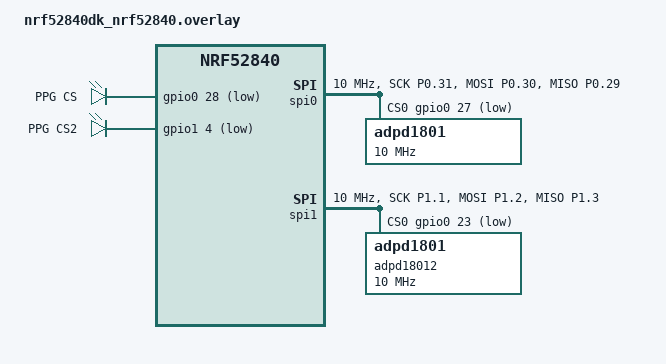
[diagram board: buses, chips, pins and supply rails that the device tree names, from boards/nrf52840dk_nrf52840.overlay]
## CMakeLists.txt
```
cmake_minimum_required(VERSION 3.20.0)
find_package(Zephyr REQUIRED HINTS $ENV{ZEPHYR_BASE})

project(cont_bp_monitor)

target_sources(app PRIVATE src/main.c src/bpm.c drivers/sensor_ppg.c lib/cross_correlate.c lib/convert_to_bp.c lib/derivative_approximate.c lib/double_readings.c lib/rolling_window.c lib/ptt_constant_calc.c)
target_include_directories(app PRIVATE drivers lib)
```

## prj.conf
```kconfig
CONFIG_GPIO=y
CONFIG_ADC=y
CONFIG_SPI=y
CONFIG_SPI_ASYNC=n

CONFIG_LOG=y
CONFIG_LOG_MODE_MINIMAL=n

CONFIG_FPU=y
CONFIG_FPU_SHARING=y

#CONFIG_SYSTEM_WORKQUEUE_STACK_SIZE=2048

CONFIG_BT=y
CONFIG_BT_SMP=y
CONFIG_BT_SIGNING=y
CONFIG_BT_PERIPHERAL=y
CONFIG_BT_DIS=y
CONFIG_BT_ATT_PREPARE_COUNT=5
CONFIG_BT_PRIVACY=y
CONFIG_BT_DEVICE_NAME="Pulsewave BP Monitor"
CONFIG_BT_DEVICE_APPEARANCE=380
CONFIG_BT_DEVICE_NAME_DYNAMIC=y
CONFIG_BT_DEVICE_NAME_MAX=65

CONFIG_BT_KEYS_OVERWRITE_OLDEST=y
CONFIG_BT_SETTINGS=y
CONFIG_FLASH=y
CONFIG_FLASH_PAGE_LAYOUT=y
CONFIG_FLASH_MAP=y
CONFIG_NVS=y
CONFIG_SETTINGS=y
```

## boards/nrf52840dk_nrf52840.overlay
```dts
/*
 * SPDX-License-Identifier: Apache-2.0
 *
 * Copyright (c) 2022 Nordic Semiconductor ASA
 */

 &pinctrl {
	spi1_default: spi1_default {
		group1 {
			psels = <NRF_PSEL(SPIM_SCK, 0, 31)>,
				<NRF_PSEL(SPIM_MOSI, 0, 30)>,
				<NRF_PSEL(SPIM_MISO, 0, 29)>;
		};
	};
	spi1_sleep: spi1_sleep {
		group1 {
			psels = <NRF_PSEL(SPIM_SCK, 0, 31)>,
				<NRF_PSEL(SPIM_MOSI, 0, 30)>,
				<NRF_PSEL(SPIM_MISO, 0, 29)>;
			low-power-enable;
		};
	};
	spi2_default: spi2_default {
		group1 {
			psels = <NRF_PSEL(SPIM_SCK, 1, 1)>,
				<NRF_PSEL(SPIM_MOSI, 1, 2)>,
				<NRF_PSEL(SPIM_MISO, 1, 3)>;
		};
	};

	spi2_sleep: spi2_sleep {
		group1 {
			psels = <NRF_PSEL(SPIM_SCK, 1, 1)>,
				<NRF_PSEL(SPIM_MOSI, 1, 2)>,
				<NRF_PSEL(SPIM_MISO, 1, 3)>;
			low-power-enable;
		};
	};
};

&spi0 {
	compatible = "nordic,nrf-spi";
	status = "okay";
	cs-gpios = <&gpio0 27 GPIO_ACTIVE_LOW>;
	pinctrl-0 = <&spi1_default>;
	pinctrl-1 = <&spi1_sleep>;
	pinctrl-names = "default", "sleep";
	max-frequency = <DT_FREQ_M(10)>;
	clock-frequency = <DT_FREQ_M(10)>;
	adpd1801: adpd1801@0 {
		compatible = "zephyr,adpd1801";
		reg = <0>;
		spi-max-frequency = <DT_FREQ_M(10)>;
		label = "adpd1801";
	};
};

&spi1 {
	compatible = "nordic,nrf-spi";
	status = "okay";
	cs-gpios = <&gpio0 23 GPIO_ACTIVE_LOW>;
	pinctrl-0 = <&spi2_default>;
	pinctrl-1 = <&spi2_sleep>;
	pinctrl-names = "default", "sleep";
	max-frequency = <DT_FREQ_M(10)>;
	clock-frequency = <DT_FREQ_M(10)>;
	adpd18012: adpd18012@0 {
		compatible = "zephyr,adpd1801";
		reg = <0>;
		spi-max-frequency = <DT_FREQ_M(10)>;
		label = "adpd18012";
	};
};

&spi2 {
	status = "disabled";
};

&spi3 {
	status = "disabled";
};

&qspi {
	status = "disabled";
};

&i2c0 {
	status = "disabled";
};

/ {
	cs_pins {
		compatible = "gpio-leds";
		ppgcs: ppg_cs {
			gpios = <&gpio0 28 GPIO_ACTIVE_LOW>;
			label = "PPG CS";
		};
		ppgcs2: ppg_cs2 {
			gpios = <&gpio1 4 GPIO_ACTIVE_LOW>;
			label = "PPG CS2";
		};
	};

	aliases {
		ppgcs = &ppgcs;
		ppgcs2 = &ppgcs2;
	};
	
};
```

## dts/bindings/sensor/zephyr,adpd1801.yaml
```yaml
description: My spi device binding for ADPD1801

compatible: "zephyr,adpd1801"

include: spi-device.yaml
  
```

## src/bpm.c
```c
/************************************************************************************
 * 	
 * 	@file     bpm.c
 *  @author   Mario Lanzilotta
 * 	@brief    BLE blood pressure service
 *  
************************************************************************************/

#include <zephyr/types.h>
#include <stddef.h>
#include <string.h>
#include <errno.h>
#include <zephyr/kernel.h>
#include <zephyr/init.h>
#include <zephyr/sys/printk.h>
#include <zephyr/sys/byteorder.h>

#include <zephyr/bluetooth/bluetooth.h>
#include <zephyr/bluetooth/hci.h>
#include <zephyr/bluetooth/conn.h>
#include <zephyr/bluetooth/uuid.h>
#include <zephyr/bluetooth/gatt.h>

#include <zephyr/logging/log.h>
LOG_MODULE_REGISTER(BLE_bp, LOG_LEVEL_DBG);

static uint8_t bps_blsc;
static uint16_t bp[2];;

static void bp_ccc_cfg_changed(const struct bt_gatt_attr *attr, uint16_t value) {
	ARG_UNUSED(attr);

	bool notif_enabled = (value == BT_GATT_CCC_NOTIFY);

	LOG_INF("BPS notifications %s", notif_enabled ? "enabled" : "disabled");
}

static ssize_t read_bp(struct bt_conn *conn, const struct bt_gatt_attr *attr,
		       void *buf, uint16_t len, uint16_t offset) {
	
	return bt_gatt_attr_read(conn, attr, buf, len, offset, &bps_blsc,
				 sizeof(bps_blsc));
}

static ssize_t write_bp(struct bt_conn *conn, const struct bt_gatt_attr *attr,
			const void *buf, uint16_t len, uint16_t offset, uint8_t flags) {

	uint8_t *value = attr->user_data;

	if (offset + len > sizeof(bp)) {
		return BT_GATT_ERR(BT_ATT_ERR_INVALID_OFFSET);
	}

	memcpy(value + offset, buf, len);

	return len;
}

/* Blood Pressure Service Declaration */
BT_GATT_SERVICE_DEFINE(bp_service,
	BT_GATT_PRIMARY_SERVICE(BT_UUID_BPS),
	BT_GATT_CHARACTERISTIC(BT_UUID_GATT_BPM, BT_GATT_CHRC_READ |
			       BT_GATT_CHRC_NOTIFY | BT_GATT_CHRC_WRITE,
			       BT_GATT_PERM_READ | BT_GATT_PERM_WRITE,
			       read_bp, write_bp, NULL),
	BT_GATT_CCC(bp_ccc_cfg_changed, BT_GATT_PERM_READ | BT_GATT_PERM_WRITE),
);


int bp_init(void) {
	bps_blsc = 0x01;

	return 0;
}

int bt_bps_notify(uint16_t sys, uint16_t dia) {	
	int err = 0;

	bp[0] = sys;
	bp[1] = dia;

	err = bt_gatt_notify(NULL, &bp_service.attrs[1], &bp, sizeof(bp));
	LOG_INF("Sent BP notification: %d,%d (%d)", sys, dia, err);

	return err == -ENOTCONN ? 0 : err;
}

SYS_INIT(bp_init, APPLICATION, CONFIG_APPLICATION_INIT_PRIORITY);
```

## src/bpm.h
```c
/** @file
 *  @brief BPM Service
 */

#ifdef __cplusplus
extern "C" {
#endif

int bp_init(void);
int bt_bps_notify(uint16_t sys, uint16_t dia);

#ifdef __cplusplus
}
#endif
```
